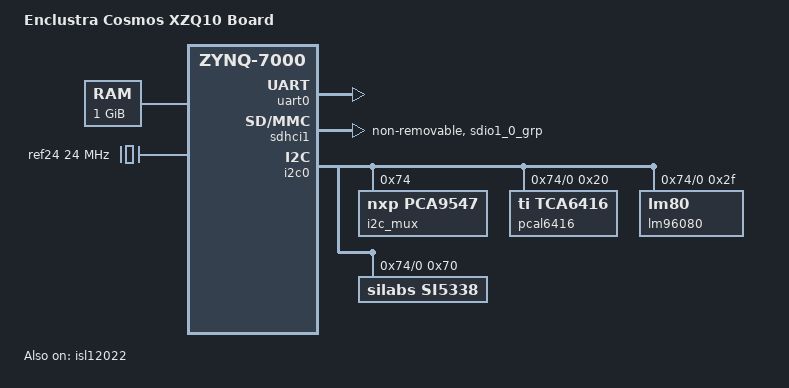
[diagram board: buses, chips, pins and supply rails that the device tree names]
/*
 *  Copyright (C) 2011 - 2014 Xilinx
 *  Copyright (C) 2012 National Instruments Corp.
 *
 * This software is licensed under the terms of the GNU General Public
 * License version 2, as published by the Free Software Foundation, and
 * may be copied, distributed, and modified under those terms.
 *
 * This program is distributed in the hope that it will be useful,
 * but WITHOUT ANY WARRANTY; without even the implied warranty of
 * MERCHANTABILITY or FITNESS FOR A PARTICULAR PURPOSE.  See the
 * GNU General Public License for more details.
 */
/dts-v1/;
/include/ "zynq-7000.dtsi"
/include/ "zynq-enclustra-zx-common.dtsi"
/include/ "zynq-enclustra-qspi-parts.dtsi"
#include <dt-bindings/clock/clk-si5338.h>

/ {
	model = "Enclustra Cosmos XZQ10 Board";

	memory {
		device_type = "memory";
		reg = <0x0 0x40000000>;
	};
};

&amba {
	ref24: ref24M {
		compatible = "fixed-clock";
		#clock-cells = <0>;
		clock-frequency = <24000000>;
	};
};

&uart0 {
	status = "okay";
};

&sdhci1 {
	status = "okay";
	non-removable;
	pinctrl-names = "default";
	pinctrl-0 = <&pinctrl_sdhci1_default>;
};

&isl12022 {
	status = "okay";
};

&pinctrl0 {
	pinctrl_sdhci1_default: sdhci1-default {
		mux {
			function = "sdio1";
			groups = "sdio1_0_grp";
		};

		conf {
			groups = "sdio1_0_grp";
			slew-rate = <0>;
			io-standard = <1>;
			bias-disable;
		};
	};
};

&i2c0 {
	i2c_mux: i2c_mux@74 {
		compatible = "nxp,pca9547";
		reg = <0x74>;
		#address-cells = <1>;
		#size-cells = <0>;

		i2c_mux@0 {
			#address-cells = <1>;
			#size-cells = <0>;
			reg = <0>;

			pcal6416@20 {
				compatible = "ti,tca6416";
				reg = <0x20>;
			};

			lm96080@2f {
				compatible = "lm80";
				reg = <0x2f>;
			};

			si5338@70 {
				compatible = "silabs,si5338";
				reg = <0x70>;
				#address-cells = <1>;
				#size-cells = <0>;
				#clock-cells = <1>;

				clocks = <0>, <0>, <&ref24>, <0>, <0>;
				clock-names = "xtal", "in12", "in3", "in4", "in56";

				silab,ref-source = <SI5338_REF_SRC_CLKIN3>;
				silab,fb-source = <SI5338_FB_SRC_NOCLK>;
				silab,pll-source = <SI5338_PFD_IN_REF_REFCLK>;

				/* output */
				clkout0 {
					reg = <0>;
					silabs,drive-config = "3V3_LVDS";
					silabs,clock-source = <SI5338_OUT_MUX_MSN>;
					silabs,disable-state = <SI5338_OUT_DIS_HIZ>;
					clock-frequency = <125000000>;
				};
				clkout1 {
					reg = <1>;
					silabs,drive-config = "3V3_LVDS";
					silabs,clock-source = <SI5338_OUT_MUX_MSN>;
					silabs,disable-state = <SI5338_OUT_DIS_HIZ>;
					clock-frequency = <125000000>;
				};
				clkout2 {
					reg = <2>;
					silabs,drive-config = "3V3_LVDS";
					silabs,clock-source = <SI5338_OUT_MUX_MSN>;
					silabs,disable-state = <SI5338_OUT_DIS_HIZ>;
					clock-frequency = <125000000>;
				};
				clkout3 {
					reg = <3>;
					silabs,drive-config = "3V3_LVDS";
					silabs,clock-source = <SI5338_OUT_MUX_MSN>;
					silabs,disable-state = <SI5338_OUT_DIS_HIZ>;
					clock-frequency = <125000000>;
				};
			};
		};
	};
};
